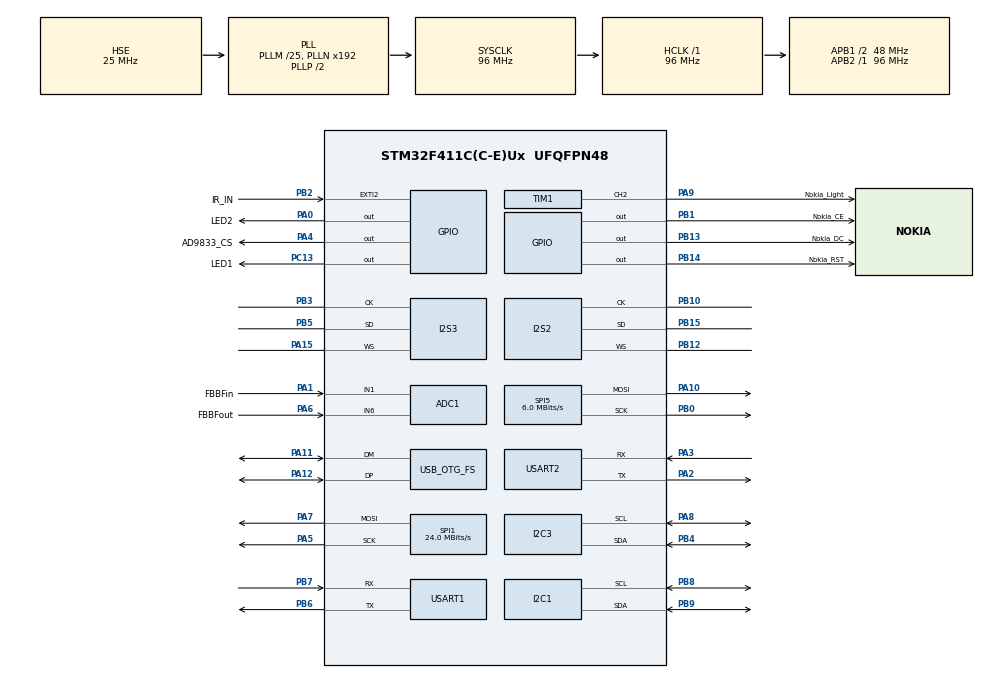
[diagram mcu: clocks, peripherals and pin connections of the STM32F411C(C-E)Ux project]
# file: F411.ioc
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ADC1.Channel-0\#ChannelRegularConversion=ADC_CHANNEL_1
ADC1.NbrOfConversionFlag=1
ADC1.Rank-0\#ChannelRegularConversion=1
ADC1.SamplingTime-0\#ChannelRegularConversion=ADC_SAMPLETIME_3CYCLES
ADC1.master=1
Dma.Request0=SPI5_TX
Dma.SPI5_TX.0.Direction=DMA_MEMORY_TO_PERIPH
Dma.SPI5_TX.0.FIFOMode=DMA_FIFOMODE_DISABLE
Dma.SPI5_TX.0.Instance=DMA2_Stream4
Dma.SPI5_TX.0.MemDataAlignment=DMA_MDATAALIGN_BYTE
Dma.SPI5_TX.0.MemInc=DMA_MINC_ENABLE
Dma.SPI5_TX.0.Mode=DMA_NORMAL
Dma.SPI5_TX.0.PeriphDataAlignment=DMA_PDATAALIGN_BYTE
Dma.SPI5_TX.0.PeriphInc=DMA_PINC_DISABLE
Dma.SPI5_TX.0.Priority=DMA_PRIORITY_MEDIUM
I2S2.AudioFreq=I2S_AUDIOFREQ_192K
I2S2.ErrorAudioFreq=1.72 %
I2S2.FullDuplexMode=I2S_FULLDUPLEXMODE_DISABLE
I2S2.Instance=SPI$Index
I2S2.RealAudioFreq=195.312 KHz
I2S2.VirtualMode=I2S_MODE_MASTER
I2S3.AudioFreq=I2S_AUDIOFREQ_192K
I2S3.ErrorAudioFreq=1.72 %
I2S3.FullDuplexMode=I2S_FULLDUPLEXMODE_DISABLE
I2S3.Instance=SPI$Index
I2S3.RealAudioFreq=195.312 KHz
I2S3.VirtualMode=I2S_MODE_MASTER
Mcu.Family=STM32F4
Mcu.Name=STM32F411C(C-E)Ux
Mcu.Package=UFQFPN48
NVIC.DMA2_Stream4_IRQn=true\:0\:0\:false\:false\:true\:false\:true
NVIC.EXTI2_IRQn=true\:0\:0\:false\:false\:true\:true\:true
NVIC.OTG_FS_IRQn=true\:0\:0\:false\:false\:true\:false\:true
NVIC.OTG_FS_WKUP_IRQn=true\:0\:0\:false\:false\:true\:false\:true
NVIC.PriorityGroup=NVIC_PRIORITYGROUP_4
NVIC.SPI5_IRQn=true\:0\:0\:false\:false\:true\:true\:true
NVIC.TIM1_TRG_COM_TIM11_IRQn=true\:0\:0\:false\:false\:true\:true\:true
NVIC.TIM1_UP_TIM10_IRQn=true\:0\:0\:false\:false\:true\:true\:true
NVIC.TIM2_IRQn=true\:0\:0\:false\:false\:true\:true\:true
PA0-WKUP.GPIO_Label=LED2
PA0-WKUP.Signal=GPIO_Output
PA1.GPIO_Label=FBBFin
PA1.Signal=ADCx_IN1
PA10.Mode=TX_Only_Simplex_Unidirect_Master
PA10.Signal=SPI5_MOSI
PA11.Mode=Device_Only
PA11.Signal=USB_OTG_FS_DM
PA12.Mode=Device_Only
PA12.Signal=USB_OTG_FS_DP
PA13.Mode=Serial_Wire
PA13.Signal=SYS_JTMS-SWDIO
PA14.Mode=Serial_Wire
PA14.Signal=SYS_JTCK-SWCLK
PA15.Mode=Half_Duplex_Master
PA15.Signal=I2S3_WS
PA2.Mode=Asynchronous
PA2.Signal=USART2_TX
PA3.Mode=Asynchronous
PA3.Signal=USART2_RX
PA4.GPIO_Label=AD9833_CS
PA4.Signal=GPIO_Output
PA5.Mode=TX_Only_Simplex_Unidirect_Master
PA5.Signal=SPI1_SCK
PA6.GPIO_Label=FBBFout
PA6.Signal=ADCx_IN6
PA7.Mode=TX_Only_Simplex_Unidirect_Master
PA7.Signal=SPI1_MOSI
PA8.Mode=I2C
PA8.Signal=I2C3_SCL
PA9.GPIO_Label=Nokia_Light
PA9.GPIO_ModeDefaultPP=GPIO_MODE_AF_PP
PA9.GPIO_PuPd=GPIO_PULLDOWN
PA9.GPIO_Speed=GPIO_SPEED_FREQ_VERY_HIGH
PA9.Signal=S_TIM1_CH2
PB0.Mode=TX_Only_Simplex_Unidirect_Master
PB0.Signal=SPI5_SCK
PB1.GPIO_Label=Nokia_CE
PB1.Signal=GPIO_Output
PB10.Mode=Half_Duplex_Master
PB10.Signal=I2S2_CK
PB12.Mode=Half_Duplex_Master
PB12.Signal=I2S2_WS
PB13.GPIO_Label=Nokia_DC
PB13.Signal=GPIO_Output
PB14.GPIO_Label=Nokia_RST
PB14.Signal=GPIO_Output
PB15.Mode=Half_Duplex_Master
PB15.Signal=I2S2_SD
PB2.GPIO_Label=IR_IN
PB2.GPIO_ModeDefaultEXTI=GPIO_MODE_IT_RISING_FALLING
PB2.GPIO_PuPd=GPIO_PULLUP
PB2.Signal=GPXTI2
PB3.Mode=Half_Duplex_Master
PB3.Signal=I2S3_CK
PB4.Mode=I2C
PB4.Signal=I2C3_SDA
PB5.Mode=Half_Duplex_Master
PB5.Signal=I2S3_SD
PB6.Mode=Asynchronous
PB6.Signal=USART1_TX
PB7.Mode=Asynchronous
PB7.Signal=USART1_RX
PB8.Mode=I2C
PB8.Signal=I2C1_SCL
PB9.Mode=I2C
PB9.Signal=I2C1_SDA
PC13-ANTI_TAMP.GPIO_Label=LED1
PC13-ANTI_TAMP.Signal=GPIO_Output
PC14-OSC32_IN.Mode=LSE-External-Oscillator
PC14-OSC32_IN.Signal=RCC_OSC32_IN
PC15-OSC32_OUT.Mode=LSE-External-Oscillator
PC15-OSC32_OUT.Signal=RCC_OSC32_OUT
PH0\ -\ OSC_IN.Mode=HSE-External-Oscillator
PH0\ -\ OSC_IN.Signal=RCC_OSC_IN
PH1\ -\ OSC_OUT.Mode=HSE-External-Oscillator
PH1\ -\ OSC_OUT.Signal=RCC_OSC_OUT
ProjectManager.HeapSize=0x200
ProjectManager.StackSize=0x400
ProjectManager.TargetToolchain=SW4STM32
RCC.48MHZClocksFreq_Value=48000000
RCC.AHBFreq_Value=96000000
RCC.APB1CLKDivider=RCC_HCLK_DIV2
RCC.APB1Freq_Value=48000000
RCC.APB1TimFreq_Value=96000000
RCC.APB2Freq_Value=96000000
RCC.APB2TimFreq_Value=96000000
RCC.CortexFreq_Value=96000000
RCC.HCLKFreq_Value=96000000
RCC.HSE_VALUE=25000000
RCC.HSI_VALUE=16000000
RCC.PLLM=25
RCC.RCC_RTC_Clock_Source=RCC_RTCCLKSOURCE_LSE
RCC.RCC_RTC_Clock_SourceVirtual=RCC_RTCCLKSOURCE_LSE
RCC.SYSCLKFreq_VALUE=96000000
RCC.SYSCLKSource=RCC_SYSCLKSOURCE_PLLCLK
RCC.VCOOutputFreq_Value=192000000
SH.ADCx_IN1.0=ADC1_IN1,IN1
SH.ADCx_IN6.0=ADC1_IN6,IN6
SH.S_TIM1_CH2.0=TIM1_CH2,PWM Generation2 CH2
SPI1.BaudRatePrescaler=SPI_BAUDRATEPRESCALER_4
SPI1.CLKPolarity=SPI_POLARITY_HIGH
SPI1.CalculateBaudRate=24.0 MBits/s
SPI1.DataSize=SPI_DATASIZE_16BIT
SPI1.Direction=SPI_DIRECTION_2LINES
SPI1.Mode=SPI_MODE_MASTER
SPI1.VirtualType=VM_MASTER
SPI5.BaudRatePrescaler=SPI_BAUDRATEPRESCALER_16
SPI5.CalculateBaudRate=6.0 MBits/s
SPI5.Direction=SPI_DIRECTION_2LINES
SPI5.Mode=SPI_MODE_MASTER
SPI5.VirtualType=VM_MASTER
TIM1.AutoReloadPreload=TIM_AUTORELOAD_PRELOAD_ENABLE
TIM1.Channel-PWM\ Generation2\ CH2=TIM_CHANNEL_2
TIM1.OCFastMode_PWM-PWM\ Generation2\ CH2=TIM_OCFAST_ENABLE
TIM1.OCMode_PWM-PWM\ Generation2\ CH2=TIM_OCMODE_PWM1
TIM1.Period=999
TIM1.Prescaler=100
TIM1.Pulse-PWM\ Generation2\ CH2=499
TIM11.AutoReloadPreload=TIM_AUTORELOAD_PRELOAD_ENABLE
TIM11.Period=334
TIM11.Prescaler=12
TIM2.Period=65535
TIM2.Prescaler=959
USART1.VirtualMode=VM_ASYNC
USART2.VirtualMode=VM_ASYNC
USB_DEVICE.CLASS_NAME_FS=AUDIO
USB_DEVICE.VirtualMode=Audio
USB_DEVICE.VirtualModeFS=Audio_FS
USB_OTG_FS.VirtualMode=Device_Only
USB_OTG_FS.low_power_enable=ENABLE
USB_OTG_FS.lpm_enable=ENABLE
VP_RTC_VS_RTC_Activate.Mode=RTC_Enabled
VP_TIM11_VS_ClockSourceINT.Mode=Enable_Timer
VP_TIM1_VS_ClockSourceINT.Mode=Internal
VP_TIM2_VS_ClockSourceINT.Mode=Internal
VP_USB_DEVICE_VS_USB_DEVICE_AUDIO_FS.Mode=AUDIO_FS
board=custom

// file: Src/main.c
/* USER CODE BEGIN Header */
/**
 ******************************************************************************
 * @file           : main.c
 * @brief          : Main program body
 ******************************************************************************
 * @attention
 *
 * <h2><center>&copy; Copyright (c) 2020 STMicroelectronics.
 * All rights reserved.</center></h2>
 *
 * This software component is licensed by ST under Ultimate Liberty license
 * SLA0044, the "License"; You may not use this file except in compliance with
 * the License. You may obtain a copy of the License at:
 *                             www.st.com/SLA0044
 *
 ******************************************************************************
 */
/* USER CODE END Header */

#include "main.h"
#include "usb_device.h"

/* USER CODE BEGIN Includes */
#include "math.h"
#include "stdio.h"
#include "si5351.h"
/* USER CODE END Includes */

/* USER CODE BEGIN PTD */
static const uint8_t ASCII[96][5] = { { 0x00, 0x00, 0x00, 0x00, 0x00 } // 20
		, { 0x00, 0x00, 0x5f, 0x00, 0x00 } // 21 !
		, { 0x00, 0x07, 0x00, 0x07, 0x00 } // 22 "
		, { 0x14, 0x7f, 0x14, 0x7f, 0x14 } // 23 #
		, { 0x24, 0x2a, 0x7f, 0x2a, 0x12 } // 24 $
		, { 0x23, 0x13, 0x08, 0x64, 0x62 } // 25 %
		, { 0x36, 0x49, 0x55, 0x22, 0x50 } // 26 &
		, { 0x00, 0x05, 0x03, 0x00, 0x00 } // 27 '
		, { 0x00, 0x1c, 0x22, 0x41, 0x00 } // 28 (
		, { 0x00, 0x41, 0x22, 0x1c, 0x00 } // 29 )
		, { 0x14, 0x08, 0x3e, 0x08, 0x14 } // 2a *
		, { 0x08, 0x08, 0x3e, 0x08, 0x08 } // 2b +
		, { 0x00, 0x50, 0x30, 0x00, 0x00 } // 2c ,
		, { 0x08, 0x08, 0x08, 0x08, 0x08 } // 2d -
		, { 0x00, 0x60, 0x60, 0x00, 0x00 } // 2e .
		, { 0x20, 0x10, 0x08, 0x04, 0x02 } // 2f /
		, { 0x3e, 0x51, 0x49, 0x45, 0x3e } // 30 0
		, { 0x00, 0x42, 0x7f, 0x40, 0x00 } // 31 1
		, { 0x42, 0x61, 0x51, 0x49, 0x46 } // 32 2
		, { 0x21, 0x41, 0x45, 0x4b, 0x31 } // 33 3
		, { 0x18, 0x14, 0x12, 0x7f, 0x10 } // 34 4
		, { 0x27, 0x45, 0x45, 0x45, 0x39 } // 35 5
		, { 0x3c, 0x4a, 0x49, 0x49, 0x30 } // 36 6
		, { 0x01, 0x71, 0x09, 0x05, 0x03 } // 37 7
		, { 0x36, 0x49, 0x49, 0x49, 0x36 } // 38 8
		, { 0x06, 0x49, 0x49, 0x29, 0x1e } // 39 9
		, { 0x00, 0x36, 0x36, 0x00, 0x00 } // 3a :
		, { 0x00, 0x56, 0x36, 0x00, 0x00 } // 3b ;
		, { 0x08, 0x14, 0x22, 0x41, 0x00 } // 3c <
		, { 0x14, 0x14, 0x14, 0x14, 0x14 } // 3d =
		, { 0x00, 0x41, 0x22, 0x14, 0x08 } // 3e >
		, { 0x02, 0x01, 0x51, 0x09, 0x06 } // 3f ?
		, { 0x32, 0x49, 0x79, 0x41, 0x3e } // 40 @
		, { 0x7e, 0x11, 0x11, 0x11, 0x7e } // 41 A
		, { 0x7f, 0x49, 0x49, 0x49, 0x36 } // 42 B
		, { 0x3e, 0x41, 0x41, 0x41, 0x22 } // 43 C
		, { 0x7f, 0x41, 0x41, 0x22, 0x1c } // 44 D
		, { 0x7f, 0x49, 0x49, 0x49, 0x41 } // 45 E
		, { 0x7f, 0x09, 0x09, 0x09, 0x01 } // 46 F
		, { 0x3e, 0x41, 0x49, 0x49, 0x7a } // 47 G
		, { 0x7f, 0x08, 0x08, 0x08, 0x7f } // 48 H
		, { 0x00, 0x41, 0x7f, 0x41, 0x00 } // 49 I
		, { 0x20, 0x40, 0x41, 0x3f, 0x01 } // 4a J
		, { 0x7f, 0x08, 0x14, 0x22, 0x41 } // 4b K
		, { 0x7f, 0x40, 0x40, 0x40, 0x40 } // 4c L
		, { 0x7f, 0x02, 0x0c, 0x02, 0x7f } // 4d M
		, { 0x7f, 0x04, 0x08, 0x10, 0x7f } // 4e N
		, { 0x3e, 0x41, 0x41, 0x41, 0x3e } // 4f O
		, { 0x7f, 0x09, 0x09, 0x09, 0x06 } // 50 P
		, { 0x3e, 0x41, 0x51, 0x21, 0x5e } // 51 Q
		, { 0x7f, 0x09, 0x19, 0x29, 0x46 } // 52 R
		, { 0x46, 0x49, 0x49, 0x49, 0x31 } // 53 S
		, { 0x01, 0x01, 0x7f, 0x01, 0x01 } // 54 T
		, { 0x3f, 0x40, 0x40, 0x40, 0x3f } // 55 U
		, { 0x1f, 0x20, 0x40, 0x20, 0x1f } // 56 V
		, { 0x3f, 0x40, 0x38, 0x40, 0x3f } // 57 W
		, { 0x63, 0x14, 0x08, 0x14, 0x63 } // 58 X
		, { 0x07, 0x08, 0x70, 0x08, 0x07 } // 59 Y
		, { 0x61, 0x51, 0x49, 0x45, 0x43 } // 5a Z
		, { 0x00, 0x7f, 0x41, 0x41, 0x00 } // 5b [
		, { 0x02, 0x04, 0x08, 0x10, 0x20 } // 5c ¥
		, { 0x00, 0x41, 0x41, 0x7f, 0x00 } // 5d ]
		, { 0x04, 0x02, 0x01, 0x02, 0x04 } // 5e ^
		, { 0x40, 0x40, 0x40, 0x40, 0x40 } // 5f _
		, { 0x00, 0x01, 0x02, 0x04, 0x00 } // 60 `
		, { 0x20, 0x54, 0x54, 0x54, 0x78 } // 61 a
		, { 0x7f, 0x48, 0x44, 0x44, 0x38 } // 62 b
		, { 0x38, 0x44, 0x44, 0x44, 0x20 } // 63 c
		, { 0x38, 0x44, 0x44, 0x48, 0x7f } // 64 d
		, { 0x38, 0x54, 0x54, 0x54, 0x18 } // 65 e
		, { 0x08, 0x7e, 0x09, 0x01, 0x02 } // 66 f
		, { 0x0c, 0x52, 0x52, 0x52, 0x3e } // 67 g
		, { 0x7f, 0x08, 0x04, 0x04, 0x78 } // 68 h
		, { 0x00, 0x44, 0x7d, 0x40, 0x00 } // 69 i
		, { 0x20, 0x40, 0x44, 0x3d, 0x00 } // 6a j
		, { 0x7f, 0x10, 0x28, 0x44, 0x00 } // 6b k
		, { 0x00, 0x41, 0x7f, 0x40, 0x00 } // 6c l
		, { 0x7c, 0x04, 0x18, 0x04, 0x78 } // 6d m
		, { 0x7c, 0x08, 0x04, 0x04, 0x78 } // 6e n
		, { 0x38, 0x44, 0x44, 0x44, 0x38 } // 6f o
		, { 0x7c, 0x14, 0x14, 0x14, 0x08 } // 70 p
		, { 0x08, 0x14, 0x14, 0x18, 0x7c } // 71 q
		, { 0x7c, 0x08, 0x04, 0x04, 0x08 } // 72 r
		, { 0x48, 0x54, 0x54, 0x54, 0x20 } // 73 s
		, { 0x04, 0x3f, 0x44, 0x40, 0x20 } // 74 t
		, { 0x3c, 0x40, 0x40, 0x20, 0x7c } // 75 u
		, { 0x1c, 0x20, 0x40, 0x20, 0x1c } // 76 v
		, { 0x3c, 0x40, 0x30, 0x40, 0x3c } // 77 w
		, { 0x44, 0x28, 0x10, 0x28, 0x44 } // 78 x
		, { 0x0c, 0x50, 0x50, 0x50, 0x3c } // 79 y
		, { 0x44, 0x64, 0x54, 0x4c, 0x44 } // 7a z
		, { 0x00, 0x08, 0x36, 0x41, 0x00 } // 7b {
		, { 0x00, 0x00, 0x7f, 0x00, 0x00 } // 7c |
		, { 0x00, 0x41, 0x36, 0x08, 0x00 } // 7d }
		, { 0x10, 0x08, 0x08, 0x10, 0x08 } // 7e �?
		, { 0x78, 0x46, 0x41, 0x46, 0x78 } // 7f →
};

uint8_t Nokia_map[6][84];
uint16_t ADC_BUFF = 4200;
uint16_t BUFF_ADC1[4200];
uint16_t BUFF_ADC3[4200];
uint16_t trig = 2048;
uint32_t ad_freq = 1000;
uint64_t si_freq = 3500000;
uint8_t sw_ad_si_pcm = 0;

//USB AUDIO
uint16_t audio_len = 0;
int16_t *audio_buff = 0;

struct NEC NEC1;

uint8_t x, y; // for nokia display position

/* USER CODE END PTD */

ADC_HandleTypeDef hadc1;

I2C_HandleTypeDef hi2c1;
I2C_HandleTypeDef hi2c3;

I2S_HandleTypeDef hi2s2;
I2S_HandleTypeDef hi2s3;

RTC_HandleTypeDef hrtc;

SPI_HandleTypeDef hspi1;
SPI_HandleTypeDef hspi5;
DMA_HandleTypeDef hdma_spi5_tx;

TIM_HandleTypeDef htim1;
TIM_HandleTypeDef htim2;
TIM_HandleTypeDef htim11;

UART_HandleTypeDef huart1;
UART_HandleTypeDef huart2;

void SystemClock_Config(void);
static void MX_GPIO_Init(void);
static void MX_DMA_Init(void);
static void MX_ADC1_Init(void);
static void MX_I2C1_Init(void);
static void MX_I2C3_Init(void);
static void MX_I2S2_Init(void);
static void MX_I2S3_Init(void);
static void MX_SPI1_Init(void);
static void MX_SPI5_Init(void);
static void MX_TIM1_Init(void);
static void MX_USART1_UART_Init(void);
static void MX_USART2_UART_Init(void);
static void MX_TIM2_Init(void);
static void MX_RTC_Init(void);
static void MX_TIM11_Init(void);

/* USER CODE BEGIN 0 */

int si5351_freq(uint8_t out_pin, uint64_t freq) {
	uint8_t ok = 0;
	if (freq < 500000) {
		return 1;
	} else if (freq > 16000000000) {
		return 2;
	}

//	uint8_t r = 0;
	uint64_t synth = 0;
	uint64_t pllfreq = 0;
	uint64_t plldiv = 0.0;
	uint8_t R = 0;

	R = 0;
	while (!ok && (R < 8)) {
		synth = 8;
		while (!ok && (synth < 1000)) {
			pllfreq = freq * (1 << R) * synth;
			if (pllfreq < 113000000000 && pllfreq > 37500000000) {
				ok = 1;
			}
			if (!ok)
				synth++;
		}
		if (!ok)
			R++;
	}

	if (ok) {
		plldiv = pllfreq / 2500;
	} else {
		return 3;
	}

	si5351_Init();
	if (!out_pin) {
		si5351_setupPLL(SI5351_PLL_B, plldiv / 1000000, plldiv % 1000000,
				1000000);
		si5351_setupMultisynth(2, SI5351_PLL_B, synth, 0, 4);
		si5351_setupRdiv(2, R);
	} else {

		si5351_setupPLL(SI5351_PLL_A, plldiv / 1000000, plldiv % 1000000,
				1000000);
		si5351_setupMultisynth(0, SI5351_PLL_A, synth, 0, 4);
		si5351_setupRdiv(0, R);
	}
	si5351_enableOutputs(0xFF);
	return 0;
}

void nokia_senddata(SPI_HandleTypeDef *hspi, uint8_t *data, uint16_t len) {
	uint16_t i = 0;
	uint8_t dt;
	HAL_GPIO_WritePin(Nokia_DC_GPIO_Port, Nokia_DC_Pin, 1);
	HAL_GPIO_WritePin(Nokia_CE_GPIO_Port, Nokia_CE_Pin, 0);
	while (i < len) {
		dt = data[i] & 0b11111111;
		HAL_SPI_Transmit(hspi, &dt, 1, HAL_MAX_DELAY);
		i++;
	}
	HAL_GPIO_WritePin(Nokia_CE_GPIO_Port, Nokia_CE_Pin, 1);
}

void nokia_sendcmd(SPI_HandleTypeDef *hspi, uint8_t *data, uint16_t len) {
	uint16_t i = 0;
	uint8_t dt;
	HAL_GPIO_WritePin(Nokia_DC_GPIO_Port, Nokia_DC_Pin, 0);
	//HAL_Delay(1);
	HAL_GPIO_WritePin(Nokia_CE_GPIO_Port, Nokia_CE_Pin, 0);
	while (i < len) {
		dt = data[i];
		HAL_SPI_Transmit(hspi, &dt, 1, 100);
		i++;
	}
	HAL_GPIO_WritePin(Nokia_CE_GPIO_Port, Nokia_CE_Pin, 1);
}

void nokia_char(uint8_t str, uint8_t *x, uint8_t *y) {
	uint8_t i = 0;
	uint8_t lx = x[0];
	uint8_t ly = y[0];
	while (i < 5) {
		Nokia_map[ly][lx] = ASCII[(str - 0x20)][i];
		lx++;
		i++;
		if (lx >= 84) {
			ly++;
			lx = 0;
			if (ly > 5) {
				ly = 0;
			}
		}
	}
	Nokia_map[ly][lx] = 0x00;
	lx++;
	if (lx >= 84) {
		ly++;
		lx = 0;
		if (ly > 5) {
			ly = 0;
		}
	}
	x[0] = lx;
	y[0] = ly;
}

void nokia_str(uint8_t *str, uint8_t *x, uint8_t *y) {
	uint8_t stri = 0;
//	uint8_t data[2];
	while (str[stri]) {
		nokia_char(str[stri], x, y);
		stri++;
	}
}

void nokia_xy(SPI_HandleTypeDef *hspi, uint8_t x, uint8_t y) {
	uint8_t data[2];
	data[0] = 0b01000000 | y;
	data[1] = 0b10000000 | x;
	nokia_sendcmd(hspi, data, 2);
}

void nokia_init(SPI_HandleTypeDef *hspi) {
	uint16_t i = 0;
	HAL_GPIO_WritePin(Nokia_RST_GPIO_Port, Nokia_RST_Pin, 1);
	HAL_GPIO_WritePin(Nokia_DC_GPIO_Port, Nokia_DC_Pin, 1);
	HAL_GPIO_WritePin(Nokia_CE_GPIO_Port, Nokia_CE_Pin, 1);
	HAL_Delay(1);
	HAL_GPIO_WritePin(Nokia_RST_GPIO_Port, Nokia_RST_Pin, 0);
	HAL_Delay(1);
	HAL_GPIO_WritePin(Nokia_RST_GPIO_Port, Nokia_RST_Pin, 1);
	Nokia_map[0][0] = 0x21;		// 0b0010 0001
	Nokia_map[0][1] = 0xb4;		// 0b1011 0101 original 0xb5
	Nokia_map[0][2] = 0x04;		// 0b0000 0100
	Nokia_map[0][3] = 0x14;		// 0b0001 0100
	Nokia_map[0][4] = 0x20;		// 0b0010 0000
	Nokia_map[0][5] = 0x0c;		// 0b0000 1100
	nokia_sendcmd(hspi, Nokia_map[0], 6);
	i = 0;
	while (i < 504) {
		Nokia_map[0][i] = 0x00;
		i++;
	}
	nokia_senddata(hspi, Nokia_map[0], 504);
}

void nokia_refresh_map(SPI_HandleTypeDef *hspi) {
	nokia_xy(hspi, 0, 0);
	HAL_GPIO_WritePin(Nokia_DC_GPIO_Port, Nokia_DC_Pin, 1);
	HAL_GPIO_WritePin(Nokia_CE_GPIO_Port, Nokia_CE_Pin, 0);
	HAL_SPI_Transmit_DMA(hspi, Nokia_map[0], 504);
}

void HAL_TIM_PeriodElapsedCallback(TIM_HandleTypeDef *htim) {
	if (htim->Instance == TIM1) {
		nokia_refresh_map(&hspi5);
//		audio_fm_modulation();
	}
	if (htim->Instance == TIM2) {
		NEC1.addr = 0;
		NEC1.addr_inv = 0;
		NEC1.cmd = 0;
		NEC1.cmd_inv = 0;
		NEC1.complet = 0;
		NEC1.gpio = 0;
		NEC1.i = 0;
		NEC1.init_seq = 0;
		NEC1.repeat = 0;
	}
	if (htim->Instance == TIM11) {
		audio_fm_modulation();
	}
}

void NEC_command();

void HAL_GPIO_EXTI_Callback(uint16_t GPIO_Pin) {
	if (GPIO_Pin == IR_IN_Pin) {
		NEC1.count = __HAL_TIM_GET_COUNTER(&htim2);

		__HAL_TIM_SET_COUNTER(&htim2, 0);
		NEC1.gpio = HAL_GPIO_ReadPin(IR_IN_GPIO_Port, IR_IN_Pin);
//		HAL_GPIO_TogglePin(LED_GPIO_Port, LED_Pin);
#ifdef DEBUG
		len = sprintf(str, "DEBUG :\t%u\t%u\t%u\n\r\0", NEC1.i, NEC1.gpio, NEC1.count);
		CDC_Transmit_FS(str, len);
#endif

		if (NEC1.gpio && NEC1.count > 850 && NEC1.count < 1000) {// about 9ms detect start high
			NEC1.init_seq = 1;
			//NEC1.complet = 0;
		}

		if (!NEC1.gpio && NEC1.count > 420 && NEC1.count < 480// about 4.5ms detect start low
		&& NEC1.init_seq) {
			NEC1.i = -1;
			NEC1.repeat = 0;
			NEC1.init_seq = 0;
		}

		if (!NEC1.gpio && NEC1.count > 200 && NEC1.count < 260// about 2.25ms detect repeat
		&& NEC1.init_seq) {
			NEC1.i = -1;
			NEC1.init_seq = 0;
			NEC1.repeat++;
			NEC1.complet = 1;
		}

		if (NEC1.gpio && NEC1.count > 40 && NEC1.count < 70) {	// about 0.5ms
			NEC1.i++;
		}

		if (!NEC1.gpio && NEC1.count > 40 && NEC1.count < 180) {// decode signal
			switch (NEC1.i / 8) {
			case 0:
				if (NEC1.count > 100) {
					NEC1.addr |= (1 << (NEC1.i % 8));
				} else {
					NEC1.addr &= ~(1 << (NEC1.i % 8));
				}
				break;
			case 1:
				if (NEC1.count > 100) {
					NEC1.addr_inv |= (1 << (NEC1.i % 8));
				} else {
					NEC1.addr_inv &= ~(1 << (NEC1.i % 8));
				}
				break;
			case 2:
				if (NEC1.count > 100) {
					NEC1.cmd |= (1 << (NEC1.i % 8));
				} else {
					NEC1.cmd &= ~(1 << (NEC1.i % 8));
				}
				break;
			case 3:
				if (NEC1.count > 100) {
					NEC1.cmd_inv |= (1 << (NEC1.i % 8));
				} else {
					NEC1.cmd_inv &= ~(1 << (NEC1.i % 8));
				}
				break;
			default:
				break;
			}
		}

		if (NEC1.i == 32) {
			NEC1.complet = 1;
		}
	}
}

void NEC_command() {
	static si_change = 0;
	uint8_t str[200];
	uint16_t len;
	x = 0;
	y = 4;
	si_change = 0;

	sprintf(str, "%02x %02x %02x %02x\r\n", NEC1.addr, NEC1.addr_inv, NEC1.cmd,
			NEC1.cmd_inv);
	nokia_str(str, &x, &y);
	//CDC_Transmit_FS(str, strlen(str));
	if (NEC1.complet) {
		NEC1.complet = 0;
		if (NEC1.addr == 0x01 && NEC1.repeat) {
			switch (NEC1.cmd) {
			case 0x10:
				// power
				si_freq = 87000000;
				si_change = 1;
				break;
			case 0x03:
				//source
				si_freq += 100000000;
				si_change = 1;
//			if (!NEC1.repeat) {
//				sw_ad_si_pcm++;
//				sw_ad_si_pcm = sw_ad_si_pcm % 3;
//			}
				break;
			case 0x01:
				//ratio
				si_freq += 10000000;
				si_change = 1;
				break;
			case 0x06:
				//mute
				si_freq += 1000000;
				si_change = 1;
				break;
			case 0x09:
				//power_s
				si_freq = 3500000;
				si_change = 1;
				break;
			case 0x1D:
				//up
				si_freq -= 100000000;
				si_change = 1;
				break;
			case 0x1F:
				//auto
				si_freq -= 10000000;
				si_change = 1;
				break;
			case 0x0D:
				//info
				si_freq -= 1000000;
				si_change = 1;
				break;
			case 0x19:
				//left
				si_freq += 100000;
				si_change = 1;
				break;
			case 0x1B:
				//menu
				si_freq += 10000;
				si_change = 1;
				break;
			case 0x11:
				//right
				si_freq += 1000;
				si_change = 1;
				break;
			case 0x15:
				//freeze
				si_freq += 100;
				si_change = 1;
				break;
			case 0x17:
				//exit
				si_freq -= 100000;
				si_change = 1;
				break;
			case 0x12:
				//down
				si_freq -= 10000;
				si_change = 1;
				break;
			case 0x16:
				//sensor
				si_freq -= 1000;
				si_change = 1;
				break;
			case 0x4D:
				//lock
				si_freq -= 100;
				si_change = 1;
				break;
			case 0x40:
				//1
				ad_freq = 1000;
				break;
			case 0x4C:
				//2
				ad_freq += 1000000;
				break;
			case 0x04:
				//3
				ad_freq += 100000;
				break;
			case 0x00:
				//VGA
				ad_freq += 10000;
				break;
			case 0x0A:
				//4
				ad_freq = 100000;
				break;
			case 0x1E:
				//5
				ad_freq -= 1000000;
				break;
			case 0x0E:
				//6
				ad_freq -= 100000;
				break;
			case 0x1A:
				//hdmi
				ad_freq -= 10000;
				break;
			case 0x1C:
				//7
				ad_freq += 1000;
				break;
			case 0x14:
				//8
				ad_freq += 100;
				break;
			case 0x0F:
				//9
				ad_freq += 10;
				break;
			case 0x0C:
				//AV
				ad_freq += 1;
				break;
			case 0x02:
				//swap
				ad_freq -= 1000;
				break;
			case 0x48:
				//0
				ad_freq -= 100;
				break;
			case 0x54:
				//pip
				ad_freq -= 10;
				break;
			case 0x05:
				//pop
				ad_freq -= 1;
				break;

			default:
				break;
			}
		}
	}

	NEC1.complet = 0;
	AD9833_set(&hspi1, ad_freq, 0, 0);
	if (si_change == 1) {
		si5351_freq(2, si_freq * 100);
		si5351_freq(0, si_freq * 100);
	}
}

void audio_fm_modulation() {
	static uint16_t iter = 0;
	AD9833_set(&hspi1, ad_freq + *(audio_buff + iter) + *(audio_buff + iter + 1), 0, 0);
	iter += 2;
	if (iter >= audio_len)
		iter = 0;
}

void HAL_SPI_TxCpltCallback(SPI_HandleTypeDef *hspi) {
	if (hspi->Instance == SPI5) {
		HAL_GPIO_WritePin(Nokia_CE_GPIO_Port, Nokia_CE_Pin, 1);
	}

}

void AD9833_tx(SPI_HandleTypeDef *hspi, uint16_t dt) {
	static uint16_t data[1] = { 0 };
	data[0] = dt;
	HAL_GPIO_WritePin(AD9833_CS_GPIO_Port, AD9833_CS_Pin, 0);
	HAL_SPI_Transmit(hspi, &data[0], 1, HAL_MAX_DELAY);
	HAL_GPIO_WritePin(AD9833_CS_GPIO_Port, AD9833_CS_Pin, 1);
}

void AD9833_Init(SPI_HandleTypeDef *hspi) {
	uint16_t data;
	data = 0x21 << 8;
	AD9833_tx(hspi, data);
}

uint64_t AD9833_freq_calc(uint64_t freq, uint64_t clk) {
	static uint64_t ret;
	static uint64_t retf;

	retf = (freq * (2 << 27)) / clk;
	ret = retf;
	return ret;
}

void AD9833_set(SPI_HandleTypeDef *hspi, uint32_t freq, uint16_t phase,
		uint8_t reset) {

	static uint16_t fq1maskand = 0b0011111111111111;
	static uint16_t fq1maskor = 0b0100000000000000;
	static uint16_t ph1maskand = 0b1101111111111111;
	static uint16_t ph1markor = 0b1100000000000000;
	static uint16_t ftmask = 0b0011111111111111;
	static uint16_t twmask = 0b0000111111111111;

	static uint16_t fqlsb;
	static uint16_t fqmsb;

	static uint64_t FreqReg;
	static uint16_t PhReg;
	const uint64_t fmclk = 25000000;

	if (reset)
		AD9833_Init(hspi);

	//FreqReg = (freq << 28) / fmclk;
	FreqReg = AD9833_freq_calc(freq, fmclk);
	fqlsb = FreqReg & ftmask;
	fqmsb = (FreqReg >> 14) & ftmask;

	fqlsb = fq1maskand & fqlsb;
	fqlsb = fq1maskor | fqlsb;
	fqmsb = fq1maskand & fqmsb;
	fqmsb = fq1maskor | fqmsb;

	PhReg = (phase * 2 * M_PI) / 4096;
	PhReg &= twmask;

	PhReg &= ph1maskand;
	PhReg |= ph1markor;

	AD9833_tx(hspi, fqlsb);
	AD9833_tx(hspi, fqmsb);
	AD9833_tx(hspi, PhReg);
	if (reset)
		AD9833_tx(hspi, 0x2000);
}

void MCP_4651_write(uint8_t addr, uint8_t *data, int16_t size) {
	uint8_t MCP_4651_addr = 0b01010000;
	HAL_I2C_Mem_Write(&hi2c1, MCP_4651_addr, addr, I2C_MEMADD_SIZE_8BIT, data,
			size, HAL_MAX_DELAY);
}

void MCP_4651_init() {
	MCP_4651_write(0x04, 0b01111111, 1);
}

void MCP_4651_set(uint8_t ch, uint8_t val) {
	int8_t channel_addr = ch << 4;
	MCP_4651_write(channel_addr, val, 1);
}

/*
 void AD9833_set_DMA(SPI_HandleTypeDef *hspi, uint32_t freq, uint16_t phase,
 uint8_t reset) {

 static uint16_t fq1maskand = 0b0011111111111111;
 static uint16_t fq1maskor = 0b0100000000000000;
 static uint16_t ph1maskand = 0b1101111111111111;
 static uint16_t ph1markor = 0b1100000000000000;
 static uint16_t ftmask = 0b0011111111111111;
 static uint16_t twmask = 0b0000111111111111;

 static uint16_t fqlsb;
 static uint16_t fqmsb;

 static uint64_t FreqReg;
 static uint16_t PhReg;
 const uint64_t fmclk = 25000000;
 static uint16_t Tx_Buff[5] = { 0, 0, 0, 0, 0 };

 static uint8_t i;

 i = 0;

 if (reset) {
 Tx_Buff[i] = 0x2100;
 i++;
 }

 //FreqReg = (freq << 28) / fmclk;
 FreqReg = AD9833_freq_calc(freq, fmclk);
 fqlsb = FreqReg & ftmask;
 fqmsb = (FreqReg >> 14) & ftmask;

 fqlsb = fq1maskand & fqlsb;
 fqlsb = fq1maskor | fqlsb;
 fqmsb = fq1maskand & fqmsb;
 fqmsb = fq1maskor | fqmsb;

 PhReg = (phase * 2 * M_PI) / 4096;
 PhReg &= twmask;

 PhReg &= ph1maskand;
 PhReg |= ph1markor;

 //AD9833_tx(hspi, fqlsb);
 //AD9833_tx(hspi, fqmsb);
 //AD9833_tx(hspi, PhReg);

 Tx_Buff[i] = fqlsb;
 i++;
 Tx_Buff[i] = fqmsb;
 i++;
 Tx_Buff[i] = PhReg;
 i++;
 //Tx_Buff[i] = 0xC000;
 //i++;

 if (reset) {
 Tx_Buff[i] = 0x2000;
 i++;
 }
 HAL_SPI_Transmit_DMA(hspi, Tx_Buff, i);
 }

 void AD9833_set_DMA_reg(uint32_t freq, uint16_t *Tx_Buff) {

 static uint16_t fq1maskand = 0b0011111111111111;
 static uint16_t fq1maskor = 0b0100000000000000;
 static uint16_t ftmask = 0b0011111111111111;

 static uint16_t fqlsb;
 static uint16_t fqmsb;
 static uint64_t FreqReg;

 const uint64_t fmclk = 25000000;

 FreqReg = AD9833_freq_calc(freq, fmclk);
 fqlsb = FreqReg & ftmask;
 fqmsb = (FreqReg >> 14) & ftmask;

 fqlsb = fq1maskand & fqlsb;
 fqlsb = fq1maskor | fqlsb;
 fqmsb = fq1maskand & fqmsb;
 fqmsb = fq1maskor | fqmsb;

 //Tx_Buff[0] = 0b1000000000000000;
 //Tx_Buff[1] = 0b1000000000000000;

 Tx_Buff[0] = fqlsb;
 Tx_Buff[1] = fqmsb;
 }
 */

// USB AUDIO
extern void Audio_setup(int16_t *buff, uint32_t len) {
	audio_len = len;
	audio_buff = buff;
}

/* USER CODE END 0 */

int main(void)
{
  /* USER CODE BEGIN 1 */
	uint16_t i = 0;
	uint8_t p0 = 0;
	int8_t str[30];
	RTC_TimeTypeDef Time;

	ptr_hi2c1 = &hi2c1;
  /* USER CODE END 1 */

  /* MCU Configuration--------------------------------------------------------*/

  /* Reset of all peripherals, Initializes the Flash interface and the Systick. */
  HAL_Init();

  /* Configure the system clock */
  SystemClock_Config();

  /* Initialize all configured peripherals */
  MX_GPIO_Init();
  MX_DMA_Init();
  MX_ADC1_Init();
  MX_I2C1_Init();
  MX_I2C3_Init();
  MX_I2S2_Init();
  MX_I2S3_Init();
  MX_SPI1_Init();
  MX_SPI5_Init();
  MX_TIM1_Init();
  MX_USART1_UART_Init();
  MX_USART2_UART_Init();
  MX_USB_DEVICE_Init();
  MX_TIM2_Init();
  MX_RTC_Init();
  MX_TIM11_Init();
  /* USER CODE BEGIN 2 */
//	MX_RTC_Init();
//	HAL_RTC_Init(&hrtc);
	HAL_GPIO_WritePin(AD9833_CS_GPIO_Port, AD9833_CS_Pin, 1);
	nokia_init(&hspi5);
	x = 0;
	y = 0;
	nokia_str("AM_FM_Tx F4IFB", &x, &y);
	HAL_TIM_Base_Start_IT(&htim1);
	HAL_TIM_Base_Start_IT(&htim2);
	HAL_TIM_Base_Start_IT(&htim11);
	HAL_TIM_PWM_Start_IT(&htim1, TIM_CHANNEL_2);
	AD9833_set(&hspi1, ad_freq, 0, 1);
	si5351_Init();
	si5351_freq(2, 350000000);
	si5351_freq(0, 350000000);
	MCP_4651_init();
	MCP_4651_set(0, 127);
	MCP_4651_set(1, 100);

	si5351_enableOutputs(0xFF);

  /* USER CODE END 2 */

  /* Infinite loop */
  /* USER CODE BEGIN WHILE */
	while (1) {
		p0++;
		MCP_4651_set(0, p0);
		HAL_Delay(20);
		if (NEC1.complet) {
			NEC_command();
			NEC1.complet = 0;
		}
		x = 0;
		y = 1;
		sprintf(str, "%lu      \0", ad_freq);
		nokia_str(str, &x, &y);
		x = 0;
		y = 5;
		HAL_RTC_GetTime(&hrtc, &Time, RTC_FORMAT_BIN);
//		Time.Hours;
//		Time.Minutes;
//		Time.Seconds;
		sprintf(str, "%hu:%hu:%hu\0", Time.Hours, Time.Minutes, Time.Seconds);
		nokia_str(str, &x, &y);
		x = 0;
		y = 2;
		sprintf(str, "%X*%x", audio_buff, audio_len);
		nokia_str(str, &x, &y);
		i++;
		//HAL_GPIO_TogglePin(LED1_GPIO_Port, LED1_Pin);
		x = 0;
		y = 3;
		sprintf(str, "%lu      \0", si_freq);
		nokia_str(str, &x, &y);
//		if (audio_buff && audio_len) {
		x = 0;
		y = 4;
		sprintf(str, "%lu %X  ", i, *(audio_buff + i));
		nokia_str(str, &x, &y);
		i++;
		if (i >= audio_len)
			i = 0;
//		}

    /* USER CODE END WHILE */

	}
}

void SystemClock_Config(void)
{
  RCC_OscInitTypeDef RCC_OscInitStruct = {0};
  RCC_ClkInitTypeDef RCC_ClkInitStruct = {0};
  RCC_PeriphCLKInitTypeDef PeriphClkInitStruct = {0};

  /** Configure the main internal regulator output voltage
  */
  __HAL_RCC_PWR_CLK_ENABLE();
  __HAL_PWR_VOLTAGESCALING_CONFIG(PWR_REGULATOR_VOLTAGE_SCALE1);
  /** Initializes the CPU, AHB and APB busses clocks
  */
  RCC_OscInitStruct.OscillatorType = RCC_OSCILLATORTYPE_HSE|RCC_OSCILLATORTYPE_LSE;
  RCC_OscInitStruct.HSEState = RCC_HSE_ON;
  RCC_OscInitStruct.LSEState = RCC_LSE_ON;
  RCC_OscInitStruct.PLL.PLLState = RCC_PLL_ON;
  RCC_OscInitStruct.PLL.PLLSource = RCC_PLLSOURCE_HSE;
  RCC_OscInitStruct.PLL.PLLM = 25;
  RCC_OscInitStruct.PLL.PLLN = 192;
  RCC_OscInitStruct.PLL.PLLP = RCC_PLLP_DIV2;
  RCC_OscInitStruct.PLL.PLLQ = 4;
  if (HAL_RCC_OscConfig(&RCC_OscInitStruct) != HAL_OK)
  {
    Error_Handler();
  }
  /** Initializes the CPU, AHB and APB busses clocks
  */
  RCC_ClkInitStruct.ClockType = RCC_CLOCKTYPE_HCLK|RCC_CLOCKTYPE_SYSCLK
                              |RCC_CLOCKTYPE_PCLK1|RCC_CLOCKTYPE_PCLK2;
  RCC_ClkInitStruct.SYSCLKSource = RCC_SYSCLKSOURCE_PLLCLK;
  RCC_ClkInitStruct.AHBCLKDivider = RCC_SYSCLK_DIV1;
  RCC_ClkInitStruct.APB1CLKDivider = RCC_HCLK_DIV2;
  RCC_ClkInitStruct.APB2CLKDivider = RCC_HCLK_DIV1;

  if (HAL_RCC_ClockConfig(&RCC_ClkInitStruct, FLASH_LATENCY_3) != HAL_OK)
  {
    Error_Handler();
  }
  PeriphClkInitStruct.PeriphClockSelection = RCC_PERIPHCLK_I2S|RCC_PERIPHCLK_RTC;
  PeriphClkInitStruct.PLLI2S.PLLI2SN = 192;
  PeriphClkInitStruct.PLLI2S.PLLI2SM = 16;
  PeriphClkInitStruct.PLLI2S.PLLI2SR = 2;
  PeriphClkInitStruct.RTCClockSelection = RCC_RTCCLKSOURCE_LSE;
  if (HAL_RCCEx_PeriphCLKConfig(&PeriphClkInitStruct) != HAL_OK)
  {
    Error_Handler();
  }
}

static void MX_ADC1_Init(void)
{

  ADC_ChannelConfTypeDef sConfig = {0};

  /** Configure the global features of the ADC (Clock, Resolution, Data Alignment and number of conversion)
  */
  hadc1.Instance = ADC1;
  hadc1.Init.ClockPrescaler = ADC_CLOCK_SYNC_PCLK_DIV4;
  hadc1.Init.Resolution = ADC_RESOLUTION_12B;
  hadc1.Init.ScanConvMode = DISABLE;
  hadc1.Init.ContinuousConvMode = DISABLE;
  hadc1.Init.DiscontinuousConvMode = DISABLE;
  hadc1.Init.ExternalTrigConvEdge = ADC_EXTERNALTRIGCONVEDGE_NONE;
  hadc1.Init.ExternalTrigConv = ADC_SOFTWARE_START;
  hadc1.Init.DataAlign = ADC_DATAALIGN_RIGHT;
  hadc1.Init.NbrOfConversion = 1;
  hadc1.Init.DMAContinuousRequests = DISABLE;
  hadc1.Init.EOCSelection = ADC_EOC_SINGLE_CONV;
  if (HAL_ADC_Init(&hadc1) != HAL_OK)
  {
    Error_Handler();
  }
  /** Configure for the selected ADC regular channel its corresponding rank in the sequencer and its sample time.
  */
  sConfig.Channel = ADC_CHANNEL_1;
  sConfig.Rank = 1;
  sConfig.SamplingTime = ADC_SAMPLETIME_3CYCLES;
  if (HAL_ADC_ConfigChannel(&hadc1, &sConfig) != HAL_OK)
  {
    Error_Handler();
  }

}

static void MX_I2C1_Init(void)
{

  hi2c1.Instance = I2C1;
  hi2c1.Init.ClockSpeed = 100000;
  hi2c1.Init.DutyCycle = I2C_DUTYCYCLE_2;
  hi2c1.Init.OwnAddress1 = 0;
  hi2c1.Init.AddressingMode = I2C_ADDRESSINGMODE_7BIT;
  hi2c1.Init.DualAddressMode = I2C_DUALADDRESS_DISABLE;
  hi2c1.Init.OwnAddress2 = 0;
  hi2c1.Init.GeneralCallMode = I2C_GENERALCALL_DISABLE;
  hi2c1.Init.NoStretchMode = I2C_NOSTRETCH_DISABLE;
  if (HAL_I2C_Init(&hi2c1) != HAL_OK)
  {
    Error_Handler();
  }

}

static void MX_I2C3_Init(void)
{

  hi2c3.Instance = I2C3;
  hi2c3.Init.ClockSpeed = 100000;
  hi2c3.Init.DutyCycle = I2C_DUTYCYCLE_2;
  hi2c3.Init.OwnAddress1 = 0;
  hi2c3.Init.AddressingMode = I2C_ADDRESSINGMODE_7BIT;
  hi2c3.Init.DualAddressMode = I2C_DUALADDRESS_DISABLE;
  hi2c3.Init.OwnAddress2 = 0;
  hi2c3.Init.GeneralCallMode = I2C_GENERALCALL_DISABLE;
  hi2c3.Init.NoStretchMode = I2C_NOSTRETCH_DISABLE;
  if (HAL_I2C_Init(&hi2c3) != HAL_OK)
  {
    Error_Handler();
  }

}

static void MX_I2S2_Init(void)
{

  hi2s2.Instance = SPI2;
  hi2s2.Init.Mode = I2S_MODE_MASTER_TX;
  hi2s2.Init.Standard = I2S_STANDARD_PHILIPS;
  hi2s2.Init.DataFormat = I2S_DATAFORMAT_16B;
  hi2s2.Init.MCLKOutput = I2S_MCLKOUTPUT_DISABLE;
  hi2s2.Init.AudioFreq = I2S_AUDIOFREQ_192K;
  hi2s2.Init.CPOL = I2S_CPOL_LOW;
  hi2s2.Init.ClockSource = I2S_CLOCK_PLL;
  hi2s2.Init.FullDuplexMode = I2S_FULLDUPLEXMODE_DISABLE;
  if (HAL_I2S_Init(&hi2s2) != HAL_OK)
  {
    Error_Handler();
  }

}

static void MX_I2S3_Init(void)
{

  hi2s3.Instance = SPI3;
  hi2s3.Init.Mode = I2S_MODE_MASTER_TX;
  hi2s3.Init.Standard = I2S_STANDARD_PHILIPS;
  hi2s3.Init.DataFormat = I2S_DATAFORMAT_16B;
  hi2s3.Init.MCLKOutput = I2S_MCLKOUTPUT_DISABLE;
  hi2s3.Init.AudioFreq = I2S_AUDIOFREQ_192K;
  hi2s3.Init.CPOL = I2S_CPOL_LOW;
  hi2s3.Init.ClockSource = I2S_CLOCK_PLL;
  hi2s3.Init.FullDuplexMode = I2S_FULLDUPLEXMODE_DISABLE;
  if (HAL_I2S_Init(&hi2s3) != HAL_OK)
  {
    Error_Handler();
  }

}

static void MX_RTC_Init(void)
{

  /** Initialize RTC Only
  */
  hrtc.Instance = RTC;
  hrtc.Init.HourFormat = RTC_HOURFORMAT_24;
  hrtc.Init.AsynchPrediv = 127;
  hrtc.Init.SynchPrediv = 255;
  hrtc.Init.OutPut = RTC_OUTPUT_DISABLE;
  hrtc.Init.OutPutPolarity = RTC_OUTPUT_POLARITY_HIGH;
  hrtc.Init.OutPutType = RTC_OUTPUT_TYPE_OPENDRAIN;
  if (HAL_RTC_Init(&hrtc) != HAL_OK)
  {
    Error_Handler();
  }

}

static void MX_SPI1_Init(void)
{

  /* SPI1 parameter configuration*/
  hspi1.Instance = SPI1;
  hspi1.Init.Mode = SPI_MODE_MASTER;
  hspi1.Init.Direction = SPI_DIRECTION_2LINES;
  hspi1.Init.DataSize = SPI_DATASIZE_16BIT;
  hspi1.Init.CLKPolarity = SPI_POLARITY_HIGH;
  hspi1.Init.CLKPhase = SPI_PHASE_1EDGE;
  hspi1.Init.NSS = SPI_NSS_SOFT;
  hspi1.Init.BaudRatePrescaler = SPI_BAUDRATEPRESCALER_4;
  hspi1.Init.FirstBit = SPI_FIRSTBIT_MSB;
  hspi1.Init.TIMode = SPI_TIMODE_DISABLE;
  hspi1.Init.CRCCalculation = SPI_CRCCALCULATION_DISABLE;
  hspi1.Init.CRCPolynomial = 10;
  if (HAL_SPI_Init(&hspi1) != HAL_OK)
  {
    Error_Handler();
  }

}

static void MX_SPI5_Init(void)
{

  /* SPI5 parameter configuration*/
  hspi5.Instance = SPI5;
  hspi5.Init.Mode = SPI_MODE_MASTER;
  hspi5.Init.Direction = SPI_DIRECTION_2LINES;
  hspi5.Init.DataSize = SPI_DATASIZE_8BIT;
  hspi5.Init.CLKPolarity = SPI_POLARITY_LOW;
  hspi5.Init.CLKPhase = SPI_PHASE_1EDGE;
  hspi5.Init.NSS = SPI_NSS_SOFT;
  hspi5.Init.BaudRatePrescaler = SPI_BAUDRATEPRESCALER_16;
  hspi5.Init.FirstBit = SPI_FIRSTBIT_MSB;
  hspi5.Init.TIMode = SPI_TIMODE_DISABLE;
  hspi5.Init.CRCCalculation = SPI_CRCCALCULATION_DISABLE;
  hspi5.Init.CRCPolynomial = 10;
  if (HAL_SPI_Init(&hspi5) != HAL_OK)
  {
    Error_Handler();
  }

}

static void MX_TIM1_Init(void)
{

  TIM_ClockConfigTypeDef sClockSourceConfig = {0};
  TIM_MasterConfigTypeDef sMasterConfig = {0};
  TIM_OC_InitTypeDef sConfigOC = {0};
  TIM_BreakDeadTimeConfigTypeDef sBreakDeadTimeConfig = {0};

  htim1.Instance = TIM1;
  htim1.Init.Prescaler = 100;
  htim1.Init.CounterMode = TIM_COUNTERMODE_UP;
  htim1.Init.Period = 999;
  htim1.Init.ClockDivision = TIM_CLOCKDIVISION_DIV1;
  htim1.Init.RepetitionCounter = 0;
  htim1.Init.AutoReloadPreload = TIM_AUTORELOAD_PRELOAD_ENABLE;
  if (HAL_TIM_Base_Init(&htim1) != HAL_OK)
  {
    Error_Handler();
  }
  sClockSourceConfig.ClockSource = TIM_CLOCKSOURCE_INTERNAL;
  if (HAL_TIM_ConfigClockSource(&htim1, &sClockSourceConfig) != HAL_OK)
  {
    Error_Handler();
  }
  if (HAL_TIM_PWM_Init(&htim1) != HAL_OK)
  {
    Error_Handler();
  }
  sMasterConfig.MasterOutputTrigger = TIM_TRGO_RESET;
  sMasterConfig.MasterSlaveMode = TIM_MASTERSLAVEMODE_DISABLE;
  if (HAL_TIMEx_MasterConfigSynchronization(&htim1, &sMasterConfig) != HAL_OK)
  {
    Error_Handler();
  }
  sConfigOC.OCMode = TIM_OCMODE_PWM1;
  sConfigOC.Pulse = 499;
  sConfigOC.OCPolarity = TIM_OCPOLARITY_HIGH;
  sConfigOC.OCNPolarity = TIM_OCNPOLARITY_HIGH;
  sConfigOC.OCFastMode = TIM_OCFAST_ENABLE;
  sConfigOC.OCIdleState = TIM_OCIDLESTATE_RESET;
  sConfigOC.OCNIdleState = TIM_OCNIDLESTATE_RESET;
  if (HAL_TIM_PWM_ConfigChannel(&htim1, &sConfigOC, TIM_CHANNEL_2) != HAL_OK)
  {
    Error_Handler();
  }
  sBreakDeadTimeConfig.OffStateRunMode = TIM_OSSR_DISABLE;
  sBreakDeadTimeConfig.OffStateIDLEMode = TIM_OSSI_DISABLE;
  sBreakDeadTimeConfig.LockLevel = TIM_LOCKLEVEL_OFF;
  sBreakDeadTimeConfig.DeadTime = 0;
  sBreakDeadTimeConfig.BreakState = TIM_BREAK_DISABLE;
  sBreakDeadTimeConfig.BreakPolarity = TIM_BREAKPOLARITY_HIGH;
  sBreakDeadTimeConfig.AutomaticOutput = TIM_AUTOMATICOUTPUT_DISABLE;
  if (HAL_TIMEx_ConfigBreakDeadTime(&htim1, &sBreakDeadTimeConfig) != HAL_OK)
  {
    Error_Handler();
  }
  HAL_TIM_MspPostInit(&htim1);

}

static void MX_TIM2_Init(void)
{

  TIM_ClockConfigTypeDef sClockSourceConfig = {0};
  TIM_MasterConfigTypeDef sMasterConfig = {0};

  htim2.Instance = TIM2;
  htim2.Init.Prescaler = 959;
  htim2.Init.CounterMode = TIM_COUNTERMODE_UP;
  htim2.Init.Period = 65535;
  htim2.Init.ClockDivision = TIM_CLOCKDIVISION_DIV1;
  htim2.Init.AutoReloadPreload = TIM_AUTORELOAD_PRELOAD_DISABLE;
  if (HAL_TIM_Base_Init(&htim2) != HAL_OK)
  {
    Error_Handler();
  }
  sClockSourceConfig.ClockSource = TIM_CLOCKSOURCE_INTERNAL;
  if (HAL_TIM_ConfigClockSource(&htim2, &sClockSourceConfig) != HAL_OK)
  {
    Error_Handler();
  }
  sMasterConfig.MasterOutputTrigger = TIM_TRGO_RESET;
  sMasterConfig.MasterSlaveMode = TIM_MASTERSLAVEMODE_DISABLE;
  if (HAL_TIMEx_MasterConfigSynchronization(&htim2, &sMasterConfig) != HAL_OK)
  {
    Error_Handler();
  }

}

static void MX_TIM11_Init(void)
{

  htim11.Instance = TIM11;
  htim11.Init.Prescaler = 12;
  htim11.Init.CounterMode = TIM_COUNTERMODE_UP;
  htim11.Init.Period = 334;
  htim11.Init.ClockDivision = TIM_CLOCKDIVISION_DIV1;
  htim11.Init.AutoReloadPreload = TIM_AUTORELOAD_PRELOAD_ENABLE;
  if (HAL_TIM_Base_Init(&htim11) != HAL_OK)
  {
    Error_Handler();
  }

}

static void MX_USART1_UART_Init(void)
{

  huart1.Instance = USART1;
  huart1.Init.BaudRate = 115200;
  huart1.Init.WordLength = UART_WORDLENGTH_8B;
  huart1.Init.StopBits = UART_STOPBITS_1;
  huart1.Init.Parity = UART_PARITY_NONE;
  huart1.Init.Mode = UART_MODE_TX_RX;
  huart1.Init.HwFlowCtl = UART_HWCONTROL_NONE;
  huart1.Init.OverSampling = UART_OVERSAMPLING_16;
  if (HAL_UART_Init(&huart1) != HAL_OK)
  {
    Error_Handler();
  }

}

static void MX_USART2_UART_Init(void)
{

  huart2.Instance = USART2;
  huart2.Init.BaudRate = 115200;
  huart2.Init.WordLength = UART_WORDLENGTH_8B;
  huart2.Init.StopBits = UART_STOPBITS_1;
  huart2.Init.Parity = UART_PARITY_NONE;
  huart2.Init.Mode = UART_MODE_TX_RX;
  huart2.Init.HwFlowCtl = UART_HWCONTROL_NONE;
  huart2.Init.OverSampling = UART_OVERSAMPLING_16;
  if (HAL_UART_Init(&huart2) != HAL_OK)
  {
    Error_Handler();
  }

}

static void MX_DMA_Init(void)
{

  /* DMA controller clock enable */
  __HAL_RCC_DMA2_CLK_ENABLE();

  /* DMA interrupt init */
  /* DMA2_Stream4_IRQn interrupt configuration */
  HAL_NVIC_SetPriority(DMA2_Stream4_IRQn, 0, 0);
  HAL_NVIC_EnableIRQ(DMA2_Stream4_IRQn);

}

static void MX_GPIO_Init(void)
{
  GPIO_InitTypeDef GPIO_InitStruct = {0};

  /* GPIO Ports Clock Enable */
  __HAL_RCC_GPIOC_CLK_ENABLE();
  __HAL_RCC_GPIOH_CLK_ENABLE();
  __HAL_RCC_GPIOA_CLK_ENABLE();
  __HAL_RCC_GPIOB_CLK_ENABLE();

  /*Configure GPIO pin Output Level */
  HAL_GPIO_WritePin(LED1_GPIO_Port, LED1_Pin, GPIO_PIN_RESET);

  /*Configure GPIO pin Output Level */
  HAL_GPIO_WritePin(GPIOA, LED2_Pin|AD9833_CS_Pin, GPIO_PIN_RESET);

  /*Configure GPIO pin Output Level */
  HAL_GPIO_WritePin(GPIOB, Nokia_CE_Pin|Nokia_DC_Pin|Nokia_RST_Pin, GPIO_PIN_RESET);

  /*Configure GPIO pin : LED1_Pin */
  GPIO_InitStruct.Pin = LED1_Pin;
  GPIO_InitStruct.Mode = GPIO_MODE_OUTPUT_PP;
  GPIO_InitStruct.Pull = GPIO_NOPULL;
  GPIO_InitStruct.Speed = GPIO_SPEED_FREQ_LOW;
  HAL_GPIO_Init(LED1_GPIO_Port, &GPIO_InitStruct);

  /*Configure GPIO pins : LED2_Pin AD9833_CS_Pin */
  GPIO_InitStruct.Pin = LED2_Pin|AD9833_CS_Pin;
  GPIO_InitStruct.Mode = GPIO_MODE_OUTPUT_PP;
  GPIO_InitStruct.Pull = GPIO_NOPULL;
  GPIO_InitStruct.Speed = GPIO_SPEED_FREQ_LOW;
  HAL_GPIO_Init(GPIOA, &GPIO_InitStruct);

  /*Configure GPIO pins : Nokia_CE_Pin Nokia_DC_Pin Nokia_RST_Pin */
  GPIO_InitStruct.Pin = Nokia_CE_Pin|Nokia_DC_Pin|Nokia_RST_Pin;
  GPIO_InitStruct.Mode = GPIO_MODE_OUTPUT_PP;
  GPIO_InitStruct.Pull = GPIO_NOPULL;
  GPIO_InitStruct.Speed = GPIO_SPEED_FREQ_LOW;
  HAL_GPIO_Init(GPIOB, &GPIO_InitStruct);

  /*Configure GPIO pin : IR_IN_Pin */
  GPIO_InitStruct.Pin = IR_IN_Pin;
  GPIO_InitStruct.Mode = GPIO_MODE_IT_RISING_FALLING;
  GPIO_InitStruct.Pull = GPIO_PULLUP;
  HAL_GPIO_Init(IR_IN_GPIO_Port, &GPIO_InitStruct);

  /* EXTI interrupt init*/
  HAL_NVIC_SetPriority(EXTI2_IRQn, 0, 0);
  HAL_NVIC_EnableIRQ(EXTI2_IRQn);

}

void Error_Handler(void)
{
}

/************************ (C) COPYRIGHT STMicroelectronics *****END OF FILE****/
